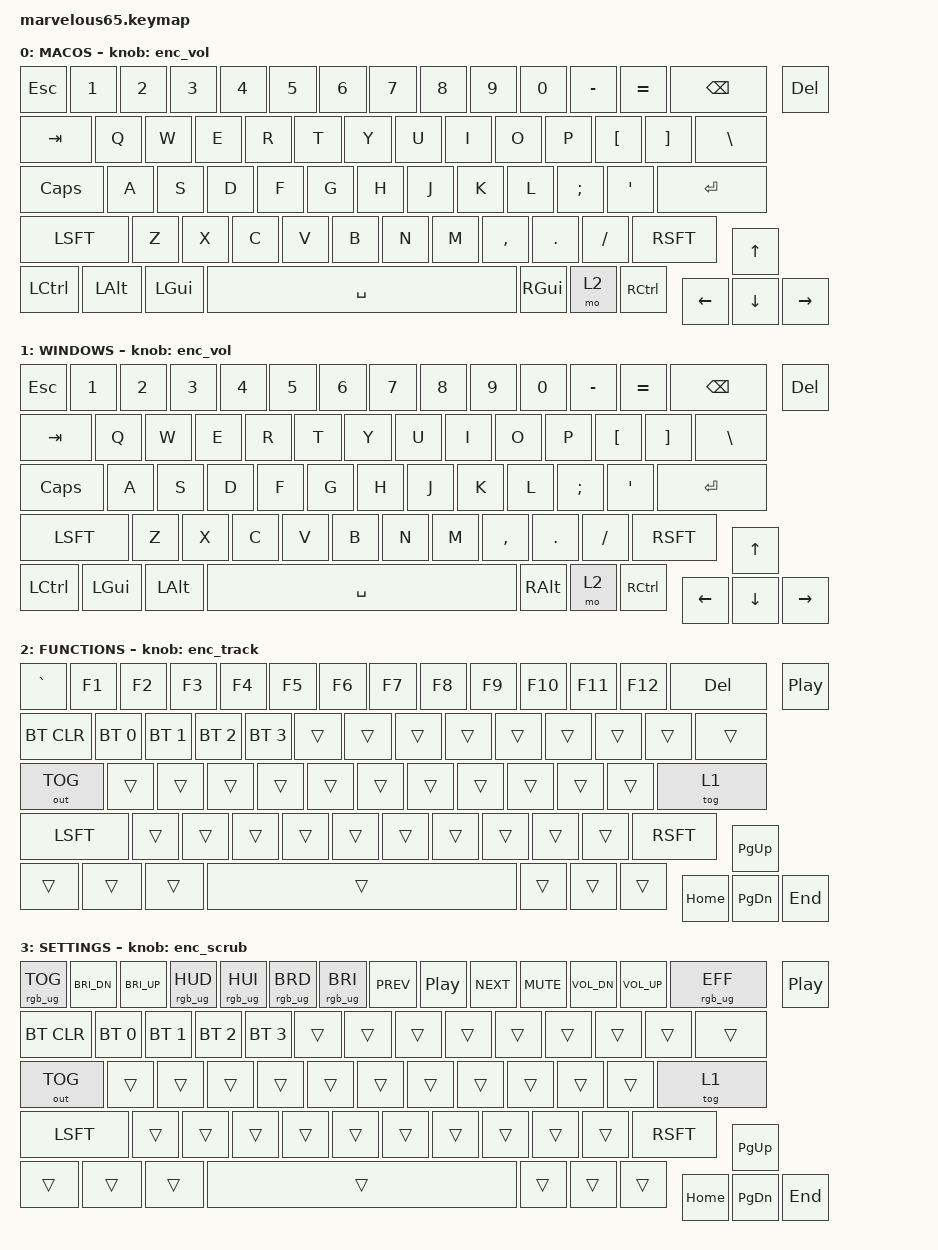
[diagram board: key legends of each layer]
/*
 * Copyright (c) 2024 Ujang Karnadi
 *
 * SPDX-License-Identifier: MIT
 */

#include <behaviors.dtsi>
#include <dt-bindings/zmk/keys.h>
#include <dt-bindings/zmk/bt.h>
#include <dt-bindings/zmk/outputs.h>
#include <dt-bindings/zmk/rgb.h>

/ {
    enc_vol: enc_vol {
        compatible = "zmk,behavior-sensor-rotate";
        label = "enc_vol";
        #sensor-binding-cells = <0>;
        bindings = <&kp C_VOL_UP>, <&kp C_VOL_DN>;
    };

    enc_track: enc_track {
        compatible = "zmk,behavior-sensor-rotate";
        label = "enc_track";
        #sensor-binding-cells = <0>;
        bindings = <&kp C_NEXT>, <&kp C_PREV>;
    };

    enc_scrub: enc_scrub {
        compatible = "zmk,behavior-sensor-rotate";
        label = "enc_scrub";
        #sensor-binding-cells = <0>;
        bindings = <&kp C_FF>, <&kp C_RW>;
    };

    combos {
        compatible = "zmk,combos";
        combo_studio_unlock {
            timeout-ms = <50>;
            key-positions = <0 1>;
            bindings = <&studio_unlock>;
        };
    };

    keymap0: keymap {
        compatible = "zmk,keymap";

        default_layer {
            label = "MACOS";
            bindings = <
&kp ESC &kp NUM_1 &kp NUM_2 &kp NUM_3 &kp NUM_4 &kp NUM_5 &kp NUM_6 &kp NUM_7 &kp NUM_8 &kp NUM_9 &kp NUM_0 &kp MINUS &kp EQL &kp BKSP &kp DEL
&kp TAB &kp Q    &kp W    &kp E    &kp R    &kp T    &kp Y    &kp U    &kp I    &kp O    &kp P    &kp LBKT &kp RBKT &kp BSLH
&kp CLCK &kp A   &kp S    &kp D    &kp F    &kp G    &kp H    &kp J    &kp K    &kp L    &kp SCLN &kp QUOT &kp RET
&kp LSFT &kp Z   &kp X    &kp C    &kp V    &kp B    &kp N    &kp M    &kp CMMA &kp DOT  &kp FSLH &kp RSFT &kp UP
&kp LCTL &kp LALT &kp LGUI &kp SPC &kp RGUI &mo 2 &kp RCTL &kp LEFT &kp DOWN &kp RIGHT
            >;
            sensor-bindings = <&enc_vol>;
        };

        macos_layer {
            label = "WINDOWS";
            bindings = <
&kp ESC &kp NUM_1 &kp NUM_2 &kp NUM_3 &kp NUM_4 &kp NUM_5 &kp NUM_6 &kp NUM_7 &kp NUM_8 &kp NUM_9 &kp NUM_0 &kp MINUS &kp EQL &kp BKSP &kp DEL
&kp TAB &kp Q    &kp W    &kp E    &kp R    &kp T    &kp Y    &kp U    &kp I    &kp O    &kp P    &kp LBKT &kp RBKT &kp BSLH
&kp CLCK &kp A   &kp S    &kp D    &kp F    &kp G    &kp H    &kp J    &kp K    &kp L    &kp SCLN &kp QUOT &kp RET
&kp LSFT &kp Z   &kp X    &kp C    &kp V    &kp B    &kp N    &kp M    &kp CMMA &kp DOT  &kp FSLH &kp RSFT &kp UP
&kp LCTL &kp LGUI &kp LALT &kp SPC &kp RALT &mo 2 &kp RCTL &kp LEFT &kp DOWN &kp RIGHT
            >;
            sensor-bindings = <&enc_vol>;
        };

        functions {
            label = "FUNCTIONS";
            bindings = <
&kp GRAVE &kp F1   &kp F2   &kp F3   &kp F4   &kp F5   &kp F6   &kp F7   &kp F8   &kp F9   &kp F10 &kp F11 &kp F12 &kp DEL &kp C_PP
&bt BT_CLR &bt BT_SEL 0 &bt BT_SEL 1 &bt BT_SEL 2 &bt BT_SEL 3 &trans &trans &trans &trans &trans &trans &trans &trans &trans
&out OUT_TOG &trans &trans &trans &trans &trans &trans &trans &trans &trans &trans &trans &tog 1
&kp LSFT &trans &trans &trans &trans &trans &trans &trans &trans &trans &trans &kp RSFT &kp PG_UP
&trans &trans &trans &trans &trans &trans &trans &kp HOME &kp PG_DN &kp END
            >;
            sensor-bindings = <&enc_track>;
        };

        settings {
            label = "SETTINGS";
            bindings = <
&rgb_ug RGB_TOG &kp C_BRI_DN &kp C_BRI_UP &rgb_ug RGB_HUD &rgb_ug RGB_HUI &rgb_ug RGB_BRD &rgb_ug RGB_BRI &kp C_PREV &kp C_PP &kp C_NEXT &kp K_MUTE &kp C_VOL_DN &kp C_VOL_UP &rgb_ug RGB_EFF &kp C_PP
&bt BT_CLR &bt BT_SEL 0 &bt BT_SEL 1 &bt BT_SEL 2 &bt BT_SEL 3 &trans &trans &trans &trans &trans &trans &trans &trans &trans
&out OUT_TOG &trans &trans &trans &trans &trans &trans &trans &trans &trans &trans &trans &tog 1
&kp LSFT &trans &trans &trans &trans &trans &trans &trans &trans &trans &trans &kp RSFT &kp PG_UP
&trans &trans &trans &trans &trans &trans &trans &kp HOME &kp PG_DN &kp END
            >;
            sensor-bindings = <&enc_scrub>;
        };
    };
};
